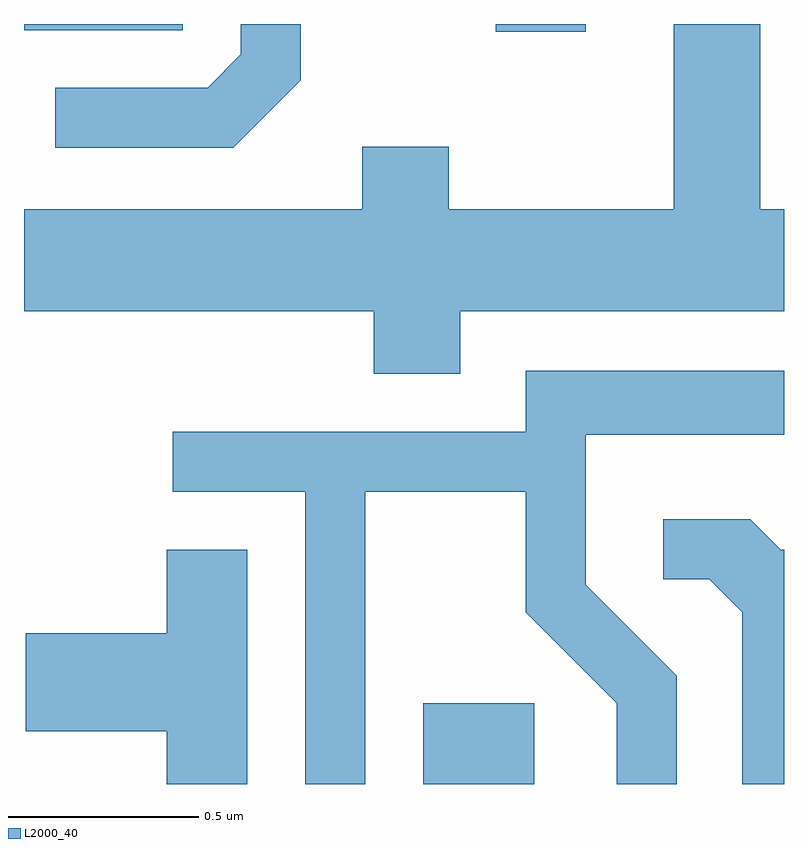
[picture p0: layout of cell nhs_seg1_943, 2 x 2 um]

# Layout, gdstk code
import gdstk
lib = gdstk.Library(unit=1e-6, precision=1e-09)
def R(c, l, rs):  # rectangles x0, y0, x1, y1
    for r in rs: c.add(gdstk.rectangle(r[:2], r[2:], *l))
def P(c, l, *ps):  # polygons
    for p in ps: c.add(gdstk.Polygon(p, *l))
L2000_40 = (2000, 40)

nhs_seg1_943 = lib.new_cell('nhs_seg1_943')
R(nhs_seg1_943, L2000_40, [(192.661,962.712,192.954,962.924), (192.853,964.691,193.089,964.712), (191.611,964.696,192.029,964.712)])
P(nhs_seg1_943, L2000_40, [(192.759,963.956),(193.611,963.956),(193.611,964.224),(193.549,964.224),(193.549,964.712),(193.321,964.712),(193.321,964.224),(192.729,964.224),(192.729,964.389),(192.501,964.389),(192.501,964.224),(191.611,964.224),(191.611,963.956),(192.531,963.956),(192.531,963.791),(192.759,963.791)],
  [(192.339,964.564),(192.339,964.712),(192.181,964.712),(192.181,964.632),(192.094,964.544),(191.693,964.544),(191.693,964.386),(192.162,964.386)],
  [(192.509,963.481),(192.931,963.481),(192.931,963.164),(193.171,962.924),(193.171,962.712),(193.329,962.712),(193.329,962.997),(193.089,963.237),(193.089,963.631),(193.611,963.631),(193.611,963.799),(192.931,963.799),(192.931,963.639),(192.003,963.639),(192.003,963.481),(192.351,963.481),(192.351,962.712),(192.509,962.712)],
  [(193.611,963.329),(193.602,963.329),(193.522,963.409),(193.293,963.409),(193.293,963.251),(193.414,963.251),(193.501,963.164),(193.501,962.712),(193.611,962.712)],
  [(192.199,963.329),(191.986,963.329),(191.986,963.109),(191.616,963.109),(191.616,962.851),(191.986,962.851),(191.986,962.712),(192.199,962.712)])

lib.write_gds('nhs_seg1_943.gds')
